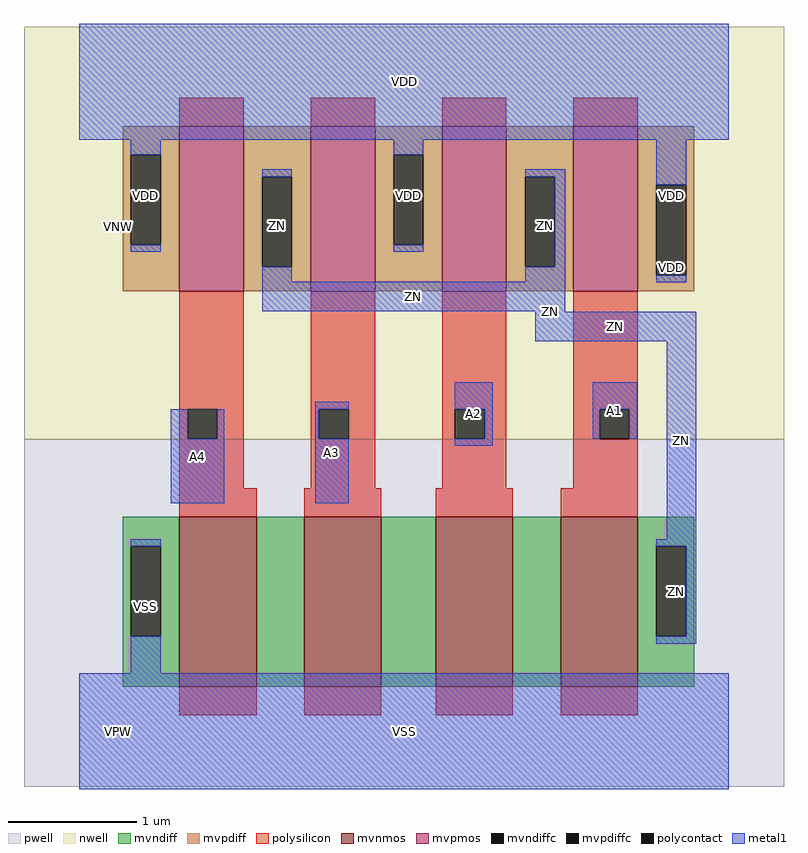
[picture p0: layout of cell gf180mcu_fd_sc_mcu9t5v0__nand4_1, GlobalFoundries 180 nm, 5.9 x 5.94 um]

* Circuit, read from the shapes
.subckt gf180mcu_fd_sc_mcu9t5v0__nand4_1 A1 A2 A3 A4 ZN VDD VNW VPW VSS
XM1 n1 A4 VSS VPW nfet_06v0 w=1.32u l=0.6u
XM2 n2 A3 n1 VPW nfet_06v0 w=1.32u l=0.6u
XM3 n3 A2 n2 VPW nfet_06v0 w=1.32u l=0.6u
XM4 ZN A1 n3 VPW nfet_06v0 w=1.32u l=0.6u
XM5 ZN A4 VDD VNW pfet_06v0 w=1.28u l=0.5u
XM6 VDD A3 ZN VNW pfet_06v0 w=1.28u l=0.5u
XM7 ZN A2 VDD VNW pfet_06v0 w=1.28u l=0.5u
XM8 VDD A1 ZN VNW pfet_06v0 w=1.28u l=0.5u
.ends

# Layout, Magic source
magic
tech gf180mcuD
magscale 1 10
<< nwell >>
rect -86 453 1094 1094
<< pwell >>
rect -86 -86 1094 453
<< mvnmos >>
rect 155 69 275 333
rect 349 69 469 333
rect 553 69 673 333
rect 747 69 867 333
<< mvpmos >>
rect 155 683 255 939
rect 359 683 459 939
rect 563 683 663 939
rect 767 683 867 939
<< mvndiff >>
rect 67 287 155 333
rect 67 147 80 287
rect 126 147 155 287
rect 67 69 155 147
rect 275 69 349 333
rect 469 69 553 333
rect 673 69 747 333
rect 867 287 955 333
rect 867 147 896 287
rect 942 147 955 287
rect 867 69 955 147
<< mvpdiff >>
rect 67 895 155 939
rect 67 755 80 895
rect 126 755 155 895
rect 67 683 155 755
rect 255 861 359 939
rect 255 721 284 861
rect 330 721 359 861
rect 255 683 359 721
rect 459 895 563 939
rect 459 755 488 895
rect 534 755 563 895
rect 459 683 563 755
rect 663 861 767 939
rect 663 721 692 861
rect 738 721 767 861
rect 663 683 767 721
rect 867 848 955 939
rect 867 708 896 848
rect 942 708 955 848
rect 867 683 955 708
<< mvndiffc >>
rect 80 147 126 287
rect 896 147 942 287
<< mvpdiffc >>
rect 80 755 126 895
rect 284 721 330 861
rect 488 755 534 895
rect 692 721 738 861
rect 896 708 942 848
<< polysilicon >>
rect 155 939 255 983
rect 359 939 459 983
rect 563 939 663 983
rect 767 939 867 983
rect 155 500 255 683
rect 155 454 168 500
rect 214 454 255 500
rect 155 377 255 454
rect 359 500 459 683
rect 359 454 372 500
rect 418 454 459 500
rect 359 377 459 454
rect 563 500 663 683
rect 563 454 583 500
rect 629 454 663 500
rect 563 377 663 454
rect 767 500 867 683
rect 767 454 808 500
rect 854 454 867 500
rect 767 377 867 454
rect 155 333 275 377
rect 349 333 469 377
rect 553 333 673 377
rect 747 333 867 377
rect 155 25 275 69
rect 349 25 469 69
rect 553 25 673 69
rect 747 25 867 69
<< polycontact >>
rect 168 454 214 500
rect 372 454 418 500
rect 583 454 629 500
rect 808 454 854 500
<< metal1 >>
rect 0 918 1008 1098
rect 80 895 126 918
rect 488 895 534 918
rect 80 744 126 755
rect 284 861 330 872
rect 488 744 534 755
rect 692 861 754 872
rect 284 698 330 721
rect 738 721 754 861
rect 692 698 754 721
rect 284 652 754 698
rect 896 848 942 918
rect 896 697 942 708
rect 708 651 754 652
rect 708 605 958 651
rect 366 500 418 511
rect 142 454 168 500
rect 214 454 225 500
rect 142 354 225 454
rect 366 454 372 500
rect 366 354 418 454
rect 583 500 642 542
rect 629 454 642 500
rect 797 500 866 542
rect 797 454 808 500
rect 854 454 866 500
rect 583 443 642 454
rect 912 298 958 605
rect 80 287 126 298
rect 80 90 126 147
rect 896 287 958 298
rect 942 147 958 287
rect 896 136 958 147
rect 0 -90 1008 90
<< labels >>
flabel metal1 s 797 454 866 542 0 FreeSans 200 0 0 0 A1
port 1 nsew default input
flabel metal1 s 583 443 642 542 0 FreeSans 200 0 0 0 A2
port 2 nsew default input
flabel metal1 s 366 354 418 511 0 FreeSans 200 0 0 0 A3
port 3 nsew default input
flabel metal1 s 142 354 225 500 0 FreeSans 200 0 0 0 A4
port 4 nsew default input
flabel metal1 s 0 918 1008 1098 0 FreeSans 200 0 0 0 VDD
port 6 nsew power bidirectional abutment
flabel metal1 s 80 90 126 298 0 FreeSans 200 0 0 0 VSS
port 9 nsew ground bidirectional abutment
flabel metal1 s 692 698 754 872 0 FreeSans 200 0 0 0 ZN
port 5 nsew default output
flabel nwell s 10 734 110 834 0 FreeSans 400 0 0 0 VNW
port 7 nsew power bidirectional
flabel pwell s 10 -50 110 50 0 FreeSans 400 0 0 0 VPW
port 8 nsew ground bidirectional
rlabel metal1 s 284 698 330 872 1 ZN
port 5 nsew default output
rlabel metal1 s 284 652 754 698 1 ZN
port 5 nsew default output
rlabel metal1 s 708 651 754 652 1 ZN
port 5 nsew default output
rlabel metal1 s 708 605 958 651 1 ZN
port 5 nsew default output
rlabel metal1 s 912 298 958 605 1 ZN
port 5 nsew default output
rlabel metal1 s 896 136 958 298 1 ZN
port 5 nsew default output
rlabel metal1 s 896 744 942 918 1 VDD
port 6 nsew power bidirectional abutment
rlabel metal1 s 488 744 534 918 1 VDD
port 6 nsew power bidirectional abutment
rlabel metal1 s 80 744 126 918 1 VDD
port 6 nsew power bidirectional abutment
rlabel metal1 s 896 697 942 744 1 VDD
port 6 nsew power bidirectional abutment
rlabel metal1 s 0 -90 1008 90 1 VSS
port 9 nsew ground bidirectional abutment
<< properties >>
string FIXED_BBOX 0 0 1008 1008
string GDS_END 61674
string GDS_FILE $PDKPATH/libs.ref/gf180mcu_fd_sc_mcu9t5v0/gds/gf180mcu_fd_sc_mcu9t5v0.gds
string GDS_START 58026
string LEFclass core
string LEFsite GF018hv5v_green_sc9
string LEFsymmetry X Y
<< end >>
